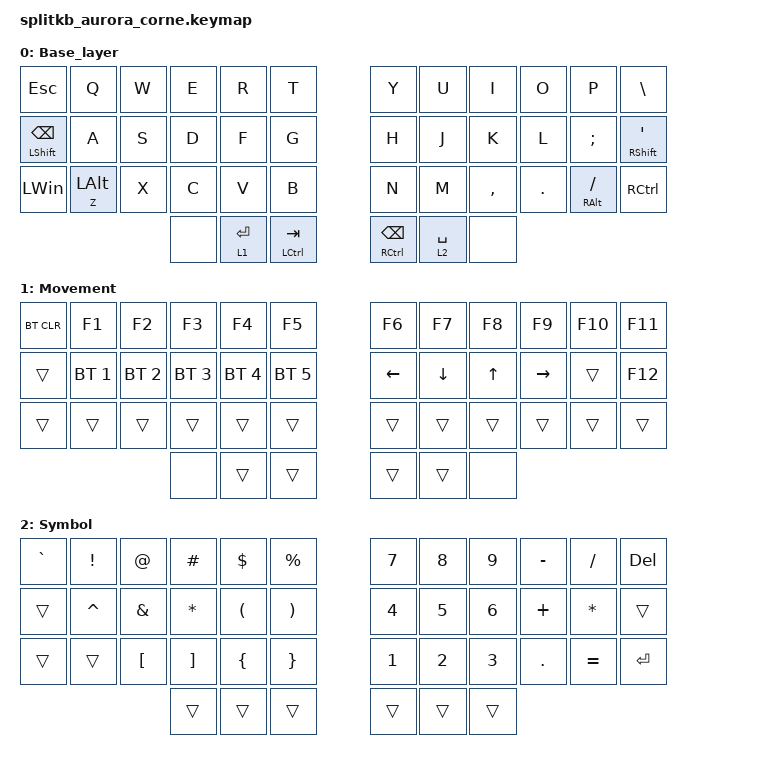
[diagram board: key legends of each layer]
#include <behaviors.dtsi>
#include <dt-bindings/zmk/bt.h>
#include <dt-bindings/zmk/keys.h>

#define BASE 0
#define LOWER 1
#define RAISE 2

/ {
    keymap {
        compatible = "zmk,keymap";

        Base_layer {
            bindings = <
&kp ESCAPE                &kp Q           &kp W  &kp E  &kp R        &kp T            &kp Y                &kp U        &kp I      &kp O       &kp P                &kp BACKSLASH
&mt LEFT_SHIFT BACKSPACE  &kp A           &kp S  &kp D  &kp F        &kp G            &kp H                &kp J        &kp K      &kp L       &kp SEMICOLON        &mt RIGHT_SHIFT SQT
&kp LEFT_WIN              &mt Z LEFT_ALT  &kp X  &kp C  &kp V        &kp B            &kp N                &kp M        &kp COMMA  &kp PERIOD  &mt RIGHT_ALT SLASH  &kp RCTRL
                                                 &none  &lt 1 ENTER  &mt LCTRL TAB    &mt RCTRL BACKSPACE  &lt 2 SPACE  &none
            >;
        };

        Movement {
            bindings = <
&bt BT_CLR  &kp F1        &kp F2        &kp F3        &kp F4        &kp F5          &kp F6          &kp F7          &kp F8        &kp F9           &kp F10  &kp F11
&trans      &bt BT_SEL 1  &bt BT_SEL 2  &bt BT_SEL 3  &bt BT_SEL 4  &bt BT_SEL 5    &kp LEFT_ARROW  &kp DOWN_ARROW  &kp UP_ARROW  &kp RIGHT_ARROW  &trans   &kp F12
&trans      &trans        &trans        &trans        &trans        &trans          &trans          &trans          &trans        &trans           &trans   &trans
                                        &none         &trans        &trans          &trans          &trans          &none
            >;
        };

        Symbol {
            bindings = <
&kp GRAVE  &kp EXCLAMATION  &kp AT_SIGN       &kp HASH           &kp DOLLAR            &kp PERCENT              &kp NUMBER_7  &kp NUMBER_8  &kp NUMBER_9  &kp MINUS  &kp SLASH  &kp DELETE
&trans     &kp CARET        &kp AMPS          &kp STAR           &kp LEFT_PARENTHESIS  &kp RIGHT_PARENTHESIS    &kp NUMBER_4  &kp NUMBER_5  &kp NUMBER_6  &kp PLUS   &kp STAR   &trans
&trans     &trans           &kp LEFT_BRACKET  &kp RIGHT_BRACKET  &kp LEFT_BRACE        &kp RIGHT_BRACE          &kp NUMBER_1  &kp NUMBER_2  &kp NUMBER_3  &kp DOT    &kp EQUAL  &kp ENTER
                                              &trans             &trans                &trans                   &trans        &trans        &trans
            >;
        };
    };
};
